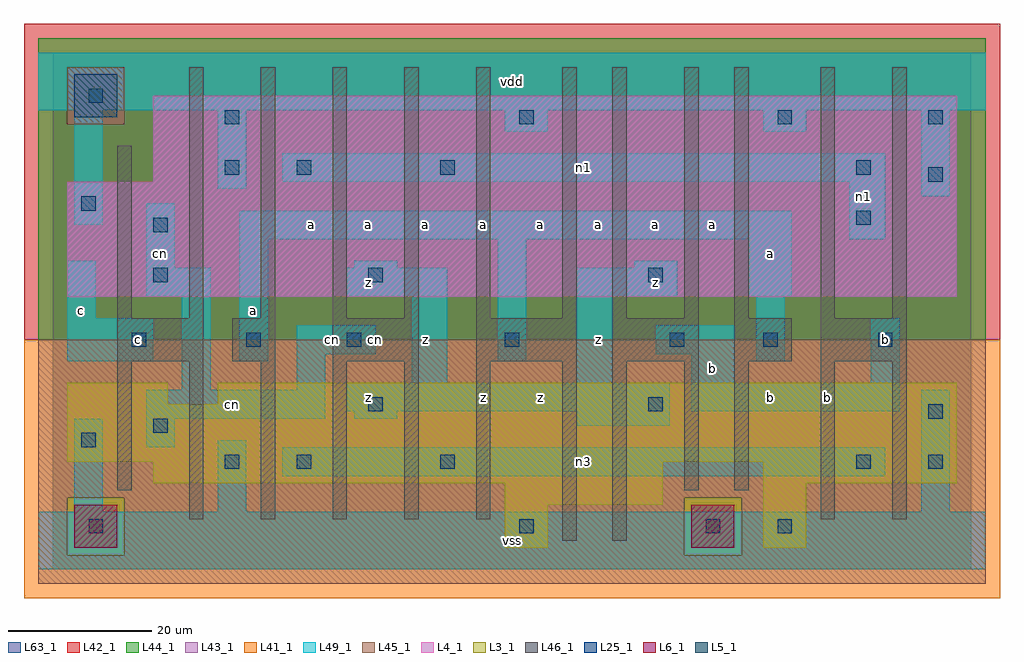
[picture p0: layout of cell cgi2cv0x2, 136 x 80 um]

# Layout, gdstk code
import gdstk
lib = gdstk.Library(unit=1e-6, precision=1e-09)
def R(c, l, rs):  # rectangles x0, y0, x1, y1
    for r in rs: c.add(gdstk.rectangle(r[:2], r[2:], *l))
def A(c, l, x, y, w, h, nx, ny, dx, dy):  # array of equal rectangles
    R(c, l, [(x+i*dx, y+j*dy, x+i*dx+w, y+j*dy+h) for i in range(nx) for j in range(ny)])
L3_1 = (3, 1)
L4_1 = (4, 1)
L5_1 = (5, 1)
L6_1 = (6, 1)
L25_1 = (25, 1)
L41_1 = (41, 1)
L42_1 = (42, 1)
L43_1 = (43, 1)
L44_1 = (44, 1)
L45_1 = (45, 1)
L46_1 = (46, 1)
L49_1 = (49, 1)
L63_1 = (63, 1)

cgi2cv0x2 = lib.new_cell('cgi2cv0x2')
R(cgi2cv0x2, L3_1, [(63,3,69,9), (99,3,105,12), (63,9,85,12), (14,12,85,15), (99,12,126,15), (2,15,126,23), (2,23,16,26), (23,23,126,26)])
R(cgi2cv0x2, L4_1, [(2,38,126,54), (14,54,126,66)])
R(cgi2cv0x2, L5_1, [(3,63,9,69)])
R(cgi2cv0x2, L6_1, [(3,3,9,9), (3,3,9,9), (89,3,95,9), (89,3,95,9)])
R(cgi2cv0x2, L25_1, [(5,5,7,7), (65,5,67,7), (91,5,93,7), (101,5,103,7), (24,14,26,16), (34,14,36,16), (54,14,56,16), (112,14,114,16), (122,14,124,16), (4,17,6,19), (14,19,16,21), (122,21,124,23), (44,22,46,24), (83,22,85,24), (11,31,13,33), (27,31,29,33), (41,31,43,33), (63,31,65,33), (86,31,88,33), (99,31,101,33), (115,31,117,33), (14,40,16,42), (44,40,46,42), (83,40,85,42), (14,47,16,49), (112,48,114,50), (4,50,6,52), (122,54,124,56), (24,55,26,57), (34,55,36,57), (54,55,56,57), (112,55,114,57), (24,62,26,64), (65,62,67,64), (101,62,103,64), (122,62,124,64), (5,65,7,67)])
R(cgi2cv0x2, L41_1, [(-4,-4,132,32)])
R(cgi2cv0x2, L42_1, [(-4,32,132,76)])
R(cgi2cv0x2, L43_1, [(3,3,9,9), (63,3,69,9), (89,3,95,9), (99,3,105,12), (63,9,85,12), (14,12,85,15), (99,12,126,15), (2,15,126,23), (2,23,16,26), (23,23,126,26), (2,38,126,54), (14,54,126,66), (3,63,9,69)])
R(cgi2cv0x2, L44_1, [(2,2,10,10), (88,2,96,10), (-2,32,130,62), (-2,62,2,70), (10,62,130,70), (-2,70,130,74)])
R(cgi2cv0x2, L45_1, [(-2,-2,130,2), (-2,2,2,10), (10,2,88,10), (96,2,130,10), (-2,10,130,32), (2,62,10,70)])
A(cgi2cv0x2, L46_1, 19, 7, 2, 22, 5, 1, 10, 0)
A(cgi2cv0x2, L46_1, 19, 35, 2, 35, 5, 1, 10, 0)
R(cgi2cv0x2, L46_1, [(71,4,73,29), (78,4,80,29), (107,7,109,29), (117,7,119,29), (9,11,11,29), (88,11,90,29), (95,11,97,29), (9,29,21,35), (25,29,31,35), (39,29,51,35), (59,29,73,35), (78,29,90,35), (95,29,103,35), (107,29,119,35), (9,35,11,59), (71,35,73,70), (78,35,80,70), (88,35,90,70), (95,35,97,70), (107,35,109,70), (117,35,119,70)])
R(cgi2cv0x2, L49_1, [(-2,0,130,8), (3,8,7,21), (23,8,27,18), (121,8,125,25), (32,13,116,17), (13,17,17,21), (73,20,86,22), (13,21,38,25), (42,21,48,22), (41,22,86,26), (89,22,118,26), (18,25,22,38), (34,25,38,30), (50,26,55,38), (73,26,78,38), (89,26,95,30), (114,26,118,35), (2,29,14,35), (26,29,30,46), (62,29,66,46), (98,29,102,38), (34,30,45,34), (84,30,95,34), (2,35,6,43), (13,38,22,42), (41,38,55,42), (73,38,87,42), (97,38,103,46), (13,42,17,51), (42,42,48,43), (81,42,87,43), (26,46,103,50), (111,46,116,54), (3,48,7,64), (121,52,125,64), (23,53,27,64), (32,54,116,58), (63,61,69,64), (99,61,105,64), (-2,64,130,72)])
R(cgi2cv0x2, L63_1, [(0,0,128,72)])
cgi2cv0x2.add(gdstk.Label('cn', (45,32), layer=46, texttype=1))
cgi2cv0x2.add(gdstk.Label('c', (12,32), layer=49, texttype=1))
cgi2cv0x2.add(gdstk.Label('c', (4,36), layer=49, texttype=1))
cgi2cv0x2.add(gdstk.Label('cn', (15,44), layer=49, texttype=1))
cgi2cv0x2.add(gdstk.Label('cn', (25,23), layer=49, texttype=1))
cgi2cv0x2.add(gdstk.Label('z', (44,24), layer=49, texttype=1))
cgi2cv0x2.add(gdstk.Label('cn', (39,32), layer=49, texttype=1))
cgi2cv0x2.add(gdstk.Label('z', (44,40), layer=49, texttype=1))
cgi2cv0x2.add(gdstk.Label('a', (28,36), layer=49, texttype=1))
cgi2cv0x2.add(gdstk.Label('a', (36,48), layer=49, texttype=1))
cgi2cv0x2.add(gdstk.Label('a', (44,48), layer=49, texttype=1))
cgi2cv0x2.add(gdstk.Label('vss', (64,4), layer=49, texttype=1))
cgi2cv0x2.add(gdstk.Label('z', (60,24), layer=49, texttype=1))
cgi2cv0x2.add(gdstk.Label('z', (68,24), layer=49, texttype=1))
cgi2cv0x2.add(gdstk.Label('z', (52,32), layer=49, texttype=1))
cgi2cv0x2.add(gdstk.Label('a', (52,48), layer=49, texttype=1))
cgi2cv0x2.add(gdstk.Label('a', (60,48), layer=49, texttype=1))
cgi2cv0x2.add(gdstk.Label('a', (68,48), layer=49, texttype=1))
cgi2cv0x2.add(gdstk.Label('vdd', (64,68), layer=49, texttype=1))
cgi2cv0x2.add(gdstk.Label('b', (100,24), layer=49, texttype=1))
cgi2cv0x2.add(gdstk.Label('b', (92,28), layer=49, texttype=1))
cgi2cv0x2.add(gdstk.Label('z', (76,32), layer=49, texttype=1))
cgi2cv0x2.add(gdstk.Label('z', (84,40), layer=49, texttype=1))
cgi2cv0x2.add(gdstk.Label('a', (100,44), layer=49, texttype=1))
cgi2cv0x2.add(gdstk.Label('a', (76,48), layer=49, texttype=1))
cgi2cv0x2.add(gdstk.Label('a', (84,48), layer=49, texttype=1))
cgi2cv0x2.add(gdstk.Label('a', (92,48), layer=49, texttype=1))
cgi2cv0x2.add(gdstk.Label('n3', (74,15), layer=49, texttype=1))
cgi2cv0x2.add(gdstk.Label('b', (108,24), layer=49, texttype=1))
cgi2cv0x2.add(gdstk.Label('b', (116,32), layer=49, texttype=1))
cgi2cv0x2.add(gdstk.Label('n1', (113,52), layer=49, texttype=1))
cgi2cv0x2.add(gdstk.Label('n1', (74,56), layer=49, texttype=1))

lib.write_gds('cgi2cv0x2.gds')
